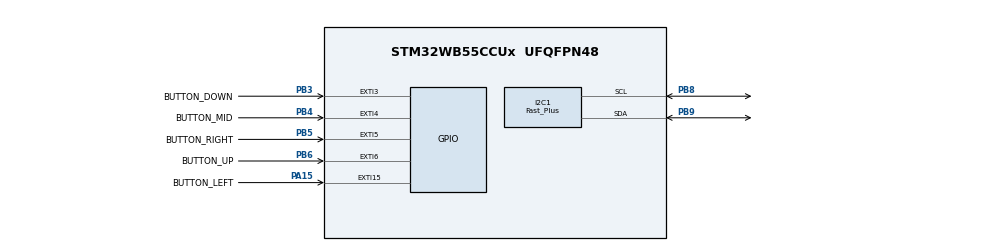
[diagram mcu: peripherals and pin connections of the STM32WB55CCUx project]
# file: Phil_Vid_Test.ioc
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FREERTOS.Queues01=Button_Queue,16,button_event_t,0,Dynamic,NULL,NULL;UI_Queue,16,button_event_t,0,Dynamic,NULL,NULL
FREERTOS.Tasks01=UI_Task,24,128,UITask,Default,NULL,Dynamic,NULL,NULL;Button_Task,8,128,ButtonTask,Default,NULL,Dynamic,NULL,NULL
FREERTOS.configUSE_NEWLIB_REENTRANT=1
I2C1.I2C_Speed_Mode=I2C_Fast_Plus
I2C1.Timing=0x0040040C
Mcu.Family=STM32WB
Mcu.Name=STM32WB55CCUx
Mcu.Package=UFQFPN48
NVIC.EXTI15_10_IRQn=true\:5\:0\:true\:false\:true\:false\:true\:true\:true
NVIC.EXTI3_IRQn=true\:5\:0\:true\:false\:true\:false\:true\:true\:true
NVIC.EXTI4_IRQn=true\:5\:0\:true\:false\:true\:false\:true\:true\:true
NVIC.EXTI9_5_IRQn=true\:5\:0\:true\:false\:true\:false\:true\:true\:true
NVIC.HSEM_IRQn=true\:5\:0\:false\:false\:true\:true\:false\:true\:true
NVIC.IPCC_C1_RX_IRQn=true\:5\:0\:false\:false\:true\:true\:true\:true\:true
NVIC.IPCC_C1_TX_IRQn=true\:5\:0\:false\:false\:true\:true\:true\:true\:true
NVIC.PriorityGroup=NVIC_PRIORITYGROUP_4
NVIC.RTC_WKUP_IRQn=true\:5\:0\:false\:false\:true\:true\:true\:true\:true
NVIC.TIM1_UP_TIM16_IRQn=true\:15\:0\:false\:false\:true\:false\:false\:true\:true
NVIC.TimeBase=TIM1_UP_TIM16_IRQn
NVIC.TimeBaseIP=TIM1
OSC_IN.Mode=HSE-External-Oscillator
OSC_IN.Signal=RCC_OSC_IN
OSC_OUT.Mode=HSE-External-Oscillator
OSC_OUT.Signal=RCC_OSC_OUT
PA13.Mode=Serial_Wire
PA13.Signal=SYS_JTMS-SWDIO
PA14.Mode=Serial_Wire
PA14.Signal=SYS_JTCK-SWCLK
PA15.GPIO_Label=BUTTON_LEFT
PA15.GPIO_ModeDefaultEXTI=GPIO_MODE_IT_FALLING
PA15.GPIO_PuPd=GPIO_PULLUP
PA15.Signal=GPXTI15
PB3.GPIO_Label=BUTTON_DOWN
PB3.GPIO_ModeDefaultEXTI=GPIO_MODE_IT_FALLING
PB3.GPIO_PuPd=GPIO_PULLUP
PB3.Signal=GPXTI3
PB4.GPIO_Label=BUTTON_MID
PB4.GPIO_ModeDefaultEXTI=GPIO_MODE_IT_FALLING
PB4.GPIO_PuPd=GPIO_PULLUP
PB4.Signal=GPXTI4
PB5.GPIO_Label=BUTTON_RIGHT
PB5.GPIO_ModeDefaultEXTI=GPIO_MODE_IT_FALLING
PB5.GPIO_PuPd=GPIO_PULLUP
PB5.Signal=GPXTI5
PB6.GPIO_Label=BUTTON_UP
PB6.GPIO_ModeDefaultEXTI=GPIO_MODE_IT_FALLING
PB6.GPIO_PuPd=GPIO_PULLUP
PB6.Signal=GPXTI6
PB8.Mode=I2C
PB8.Signal=I2C1_SCL
PB9.Mode=I2C
PB9.Signal=I2C1_SDA
ProjectManager.HeapSize=0x200
ProjectManager.StackSize=0x400
ProjectManager.TargetToolchain=STM32CubeIDE
RCC.ADCFreq_Value=128000000
RCC.AHBFreq_Value=32000000
RCC.APB1Freq_Value=32000000
RCC.APB1TimFreq_Value=32000000
RCC.APB2Freq_Value=32000000
RCC.APB2TimFreq_Value=32000000
RCC.APB3Freq_Value=16000000
RCC.CortexFreq_Value=32000000
RCC.HCLKFreq_Value=32000000
RCC.HSE_VALUE=32000000
RCC.HSI48_VALUE=48000000
RCC.HSI_VALUE=16000000
RCC.LSE_VALUE=32768
RCC.MSIClockRange=RCC_MSIRANGE_10
RCC.SYSCLKFreq_VALUE=32000000
RCC.USBFreq_Value=128000000
RCC.VCOOutputFreq_Value=256000000
RF1.Mode=RF1_Activate
RF1.Signal=RF_RF1
STM32_WPAN.BLE_APPLICATION_TYPE=BLE_SERVER_PROFILE
STM32_WPAN.CFG_LSCLK_LSE=0
STM32_WPAN.INCLUDE_AD_TYPE_COMPLETE_LOCAL_NAME=1
STM32_WPAN.NUMBER_OF_SERVICES=1
STM32_WPAN.SERVICE1_CHAR1_GATT_NOTIFY_READ_REQ_AND_WAIT_FOR_APPL_RESP=\ 
STM32_WPAN.SERVICE1_CHAR1_GATT_NOTIFY_WRITE_REQ_AND_WAIT_FOR_APPL_RESP=\ 
STM32_WPAN.SERVICE1_CHAR1_LONG_NAME=charWrite
STM32_WPAN.SERVICE1_CHAR1_PROP_WRITE=CHAR_PROP_WRITE
STM32_WPAN.SERVICE1_CHAR1_SHORT_NAME=charWrite
STM32_WPAN.SERVICE1_LONG_NAME=goofball
STM32_WPAN.SERVICE1_SHORT_NAME=goof
VP_FREERTOS_VS_CMSIS_V2.Mode=CMSIS_V2
VP_HSEM_VS_HSEM.Mode=HSEM_Activate
VP_IPCC_VS_IPCC.Mode=IPCC_Activate
VP_MEMORYMAP_VS_MEMORYMAP.Mode=CurAppReg
VP_RTC_VS_RTC_Activate.Mode=RTC_Enabled
VP_RTC_VS_RTC_WakeUp_intern.Mode=WakeUp
VP_STM32_WPAN_VS_BLE_HOST.Mode=STM32_WPAN_Enabled
VP_SYS_VS_tim1.Mode=TIM1
VP_TINY_LPM_VS_TINY_LPM.Mode=TINY_LPM_Enabled
board=custom

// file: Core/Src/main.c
/* USER CODE BEGIN Header */
/**
  ******************************************************************************
  * @file           : main.c
  * @brief          : Main program body
  ******************************************************************************
  * @attention
  *
  * Copyright (c) 2026 STMicroelectronics.
  * All rights reserved.
  *
  * This software is licensed under terms that can be found in the LICENSE file
  * in the root directory of this software component.
  * If no LICENSE file comes with this software, it is provided AS-IS.
  *
  ******************************************************************************
  */
/* USER CODE END Header */
#include "main.h"
#include "cmsis_os2.h"
#include "FreeRTOS.h"

/* USER CODE BEGIN Includes */
#include "ui.h"
/* USER CODE END Includes */

/* USER CODE BEGIN PTD */
typedef enum
{
	INPUT_UP,
	INPUT_LEFT,
	INPUT_MID,
	INPUT_RIGHT,
	INPUT_DOWN
} button_event_t;
/* USER CODE END PTD */

I2C_HandleTypeDef hi2c1;

IPCC_HandleTypeDef hipcc;

RTC_HandleTypeDef hrtc;

/* Definitions for UI_Task */
osThreadId_t UI_TaskHandle;
const osThreadAttr_t UI_Task_attributes = {
  .name = "UI_Task",
  .priority = (osPriority_t) osPriorityNormal,
  .stack_size = 128 * 4
};
/* Definitions for Button_Task */
osThreadId_t Button_TaskHandle;
const osThreadAttr_t Button_Task_attributes = {
  .name = "Button_Task",
  .priority = (osPriority_t) osPriorityLow,
  .stack_size = 128 * 4
};
/* Definitions for Button_Queue */
osMessageQueueId_t Button_QueueHandle;
const osMessageQueueAttr_t Button_Queue_attributes = {
  .name = "Button_Queue"
};
/* Definitions for UI_Queue */
osMessageQueueId_t UI_QueueHandle;
const osMessageQueueAttr_t UI_Queue_attributes = {
  .name = "UI_Queue"
};

void SystemClock_Config(void);
void PeriphCommonClock_Config(void);
static void MX_GPIO_Init(void);
static void MX_IPCC_Init(void);
static void MX_RTC_Init(void);
static void MX_I2C1_Init(void);
static void MX_RF_Init(void);
void UITask(void *argument);
void ButtonTask(void *argument);

int main(void)
{

  /* MCU Configuration--------------------------------------------------------*/

  /* Reset of all peripherals, Initializes the Flash interface and the Systick. */
  HAL_Init();
  /* Config code for STM32_WPAN (HSE Tuning must be done before system clock configuration) */
  MX_APPE_Config();

  /* Configure the system clock */
  SystemClock_Config();

  /* Configure the peripherals common clocks */
  PeriphCommonClock_Config();

  /* IPCC initialisation */
  MX_IPCC_Init();

  /* Initialize all configured peripherals */
  MX_GPIO_Init();
  MX_RTC_Init();
  MX_I2C1_Init();
  MX_RF_Init();
  /* USER CODE BEGIN 2 */
  SSD1306_Init();
  SSD1306_Clear();
  UI_Render();
  /* USER CODE END 2 */

  /* Init scheduler */
  osKernelInitialize();

  /* Create the queue(s) */
  /* creation of Button_Queue */
  Button_QueueHandle = osMessageQueueNew (16, sizeof(button_event_t), &Button_Queue_attributes);

  /* creation of UI_Queue */
  UI_QueueHandle = osMessageQueueNew (16, sizeof(button_event_t), &UI_Queue_attributes);

  /* Create the thread(s) */
  /* creation of UI_Task */
  UI_TaskHandle = osThreadNew(UITask, NULL, &UI_Task_attributes);

  /* creation of Button_Task */
  Button_TaskHandle = osThreadNew(ButtonTask, NULL, &Button_Task_attributes);

  /* Init code for STM32_WPAN */
  MX_APPE_Init();

  /* Start scheduler */
  osKernelStart();

  /* We should never get here as control is now taken by the scheduler */

  /* Infinite loop */
  while (1)
  {

  }
}

void SystemClock_Config(void)
{
  RCC_OscInitTypeDef RCC_OscInitStruct = {0};
  RCC_ClkInitTypeDef RCC_ClkInitStruct = {0};

  /** Configure the main internal regulator output voltage
  */
  __HAL_PWR_VOLTAGESCALING_CONFIG(PWR_REGULATOR_VOLTAGE_SCALE1);

  /** Initializes the RCC Oscillators according to the specified parameters
  * in the RCC_OscInitTypeDef structure.
  */
  RCC_OscInitStruct.OscillatorType = RCC_OSCILLATORTYPE_HSI|RCC_OSCILLATORTYPE_LSI1
                              |RCC_OSCILLATORTYPE_HSE|RCC_OSCILLATORTYPE_MSI;
  RCC_OscInitStruct.HSEState = RCC_HSE_ON;
  RCC_OscInitStruct.HSIState = RCC_HSI_ON;
  RCC_OscInitStruct.MSIState = RCC_MSI_ON;
  RCC_OscInitStruct.HSICalibrationValue = RCC_HSICALIBRATION_DEFAULT;
  RCC_OscInitStruct.MSICalibrationValue = RCC_MSICALIBRATION_DEFAULT;
  RCC_OscInitStruct.MSIClockRange = RCC_MSIRANGE_10;
  RCC_OscInitStruct.LSIState = RCC_LSI_ON;
  RCC_OscInitStruct.PLL.PLLState = RCC_PLL_NONE;
  if (HAL_RCC_OscConfig(&RCC_OscInitStruct) != HAL_OK)
  {
    Error_Handler();
  }

  /** Configure the SYSCLKSource, HCLK, PCLK1 and PCLK2 clocks dividers
  */
  RCC_ClkInitStruct.ClockType = RCC_CLOCKTYPE_HCLK4|RCC_CLOCKTYPE_HCLK2
                              |RCC_CLOCKTYPE_HCLK|RCC_CLOCKTYPE_SYSCLK
                              |RCC_CLOCKTYPE_PCLK1|RCC_CLOCKTYPE_PCLK2;
  RCC_ClkInitStruct.SYSCLKSource = RCC_SYSCLKSOURCE_MSI;
  RCC_ClkInitStruct.AHBCLKDivider = RCC_SYSCLK_DIV1;
  RCC_ClkInitStruct.APB1CLKDivider = RCC_HCLK_DIV1;
  RCC_ClkInitStruct.APB2CLKDivider = RCC_HCLK_DIV1;
  RCC_ClkInitStruct.AHBCLK2Divider = RCC_SYSCLK_DIV1;
  RCC_ClkInitStruct.AHBCLK4Divider = RCC_SYSCLK_DIV1;

  if (HAL_RCC_ClockConfig(&RCC_ClkInitStruct, FLASH_LATENCY_1) != HAL_OK)
  {
    Error_Handler();
  }
}

void PeriphCommonClock_Config(void)
{
  RCC_PeriphCLKInitTypeDef PeriphClkInitStruct = {0};

  /** Initializes the peripherals clock
  */
  PeriphClkInitStruct.PeriphClockSelection = RCC_PERIPHCLK_SMPS|RCC_PERIPHCLK_RFWAKEUP;
  PeriphClkInitStruct.RFWakeUpClockSelection = RCC_RFWKPCLKSOURCE_HSE_DIV1024;
  PeriphClkInitStruct.SmpsClockSelection = RCC_SMPSCLKSOURCE_HSI;
  PeriphClkInitStruct.SmpsDivSelection = RCC_SMPSCLKDIV_RANGE1;

  if (HAL_RCCEx_PeriphCLKConfig(&PeriphClkInitStruct) != HAL_OK)
  {
    Error_Handler();
  }
}

static void MX_I2C1_Init(void)
{

  hi2c1.Instance = I2C1;
  hi2c1.Init.Timing = 0x0040040C;
  hi2c1.Init.OwnAddress1 = 0;
  hi2c1.Init.AddressingMode = I2C_ADDRESSINGMODE_7BIT;
  hi2c1.Init.DualAddressMode = I2C_DUALADDRESS_DISABLE;
  hi2c1.Init.OwnAddress2 = 0;
  hi2c1.Init.OwnAddress2Masks = I2C_OA2_NOMASK;
  hi2c1.Init.GeneralCallMode = I2C_GENERALCALL_DISABLE;
  hi2c1.Init.NoStretchMode = I2C_NOSTRETCH_DISABLE;
  if (HAL_I2C_Init(&hi2c1) != HAL_OK)
  {
    Error_Handler();
  }

  /** Configure Analogue filter
  */
  if (HAL_I2CEx_ConfigAnalogFilter(&hi2c1, I2C_ANALOGFILTER_ENABLE) != HAL_OK)
  {
    Error_Handler();
  }

  /** Configure Digital filter
  */
  if (HAL_I2CEx_ConfigDigitalFilter(&hi2c1, 0) != HAL_OK)
  {
    Error_Handler();
  }

  /** I2C Enable Fast Mode Plus
  */
  HAL_I2CEx_EnableFastModePlus(I2C_FASTMODEPLUS_I2C1);

}

static void MX_IPCC_Init(void)
{

  hipcc.Instance = IPCC;
  if (HAL_IPCC_Init(&hipcc) != HAL_OK)
  {
    Error_Handler();
  }

}

static void MX_RF_Init(void)
{

}

static void MX_RTC_Init(void)
{

  /** Initialize RTC Only
  */
  hrtc.Instance = RTC;
  hrtc.Init.HourFormat = RTC_HOURFORMAT_24;
  hrtc.Init.AsynchPrediv = CFG_RTC_ASYNCH_PRESCALER;
  hrtc.Init.SynchPrediv = CFG_RTC_SYNCH_PRESCALER;
  hrtc.Init.OutPut = RTC_OUTPUT_DISABLE;
  hrtc.Init.OutPutPolarity = RTC_OUTPUT_POLARITY_HIGH;
  hrtc.Init.OutPutType = RTC_OUTPUT_TYPE_OPENDRAIN;
  hrtc.Init.OutPutRemap = RTC_OUTPUT_REMAP_NONE;
  if (HAL_RTC_Init(&hrtc) != HAL_OK)
  {
    Error_Handler();
  }

  /** Enable the WakeUp
  */
  if (HAL_RTCEx_SetWakeUpTimer_IT(&hrtc, 0, RTC_WAKEUPCLOCK_RTCCLK_DIV16) != HAL_OK)
  {
    Error_Handler();
  }

}

static void MX_GPIO_Init(void)
{
  GPIO_InitTypeDef GPIO_InitStruct = {0};

  /* GPIO Ports Clock Enable */
  __HAL_RCC_GPIOB_CLK_ENABLE();
  __HAL_RCC_GPIOA_CLK_ENABLE();

  /*Configure GPIO pin : BUTTON_LEFT_Pin */
  GPIO_InitStruct.Pin = BUTTON_LEFT_Pin;
  GPIO_InitStruct.Mode = GPIO_MODE_IT_FALLING;
  GPIO_InitStruct.Pull = GPIO_PULLUP;
  HAL_GPIO_Init(BUTTON_LEFT_GPIO_Port, &GPIO_InitStruct);

  /*Configure GPIO pins : BUTTON_DOWN_Pin BUTTON_MID_Pin BUTTON_RIGHT_Pin BUTTON_UP_Pin */
  GPIO_InitStruct.Pin = BUTTON_DOWN_Pin|BUTTON_MID_Pin|BUTTON_RIGHT_Pin|BUTTON_UP_Pin;
  GPIO_InitStruct.Mode = GPIO_MODE_IT_FALLING;
  GPIO_InitStruct.Pull = GPIO_PULLUP;
  HAL_GPIO_Init(GPIOB, &GPIO_InitStruct);

  /* EXTI interrupt init*/
  HAL_NVIC_SetPriority(EXTI3_IRQn, 5, 0);
  HAL_NVIC_EnableIRQ(EXTI3_IRQn);

  HAL_NVIC_SetPriority(EXTI4_IRQn, 5, 0);
  HAL_NVIC_EnableIRQ(EXTI4_IRQn);

  HAL_NVIC_SetPriority(EXTI9_5_IRQn, 5, 0);
  HAL_NVIC_EnableIRQ(EXTI9_5_IRQn);

  HAL_NVIC_SetPriority(EXTI15_10_IRQn, 5, 0);
  HAL_NVIC_EnableIRQ(EXTI15_10_IRQn);

}

/* USER CODE BEGIN 4 */
void HAL_GPIO_EXTI_Callback(uint16_t GPIO_Pin)
{
	button_event_t event;

	if (GPIO_Pin == BUTTON_UP_Pin) event = INPUT_UP;
	else if (GPIO_Pin == BUTTON_LEFT_Pin) event = INPUT_LEFT;
	else if (GPIO_Pin == BUTTON_MID_Pin) event = INPUT_MID;
	else if (GPIO_Pin == BUTTON_RIGHT_Pin) event = INPUT_RIGHT;
	else if (GPIO_Pin == BUTTON_DOWN_Pin) event = INPUT_DOWN;
	else return;

	osStatus_t status = osMessageQueuePut(
			Button_QueueHandle,
			&event,
			0,
			0						// send to queue w/o waiting
	);

	(void)status;
}
/* USER CODE END 4 */

void UITask(void *argument)
{
  /* USER CODE BEGIN 5 */
	button_event_t uiEvent;

  /* Infinite loop */
	for(;;)
	{
		if (osMessageQueueGet(
				UI_QueueHandle,
				&uiEvent,
				NULL,
				osWaitForever) == osOK)
		{
			switch (uiEvent){
			case INPUT_UP:
				UI_HandleInput(true, false, false, false, false);
				break;
			case INPUT_DOWN:
				UI_HandleInput(false, true, false, false, false);
				break;
			case INPUT_LEFT:
				UI_HandleInput(false, false, true, false, false);
				break;
			case INPUT_RIGHT:
				UI_HandleInput(false, false, false, true, false);
				break;
			case INPUT_MID:
				UI_HandleInput(false, false, false, false, true);
				break;
			default:
				break;
			}

			UI_Render();
		}
	}
  /* USER CODE END 5 */
}

void ButtonTask(void *argument)
{
  /* USER CODE BEGIN ButtonTask */
	button_event_t event;
	button_event_t uiEvent;

	GPIO_TypeDef *port = NULL;
	uint16_t pin = 0;
  /* Infinite loop */
	for(;;)
	{
		if(osMessageQueueGet(Button_QueueHandle, &event, NULL, osWaitForever) == osOK)
		{
			switch (event)
			{
			case INPUT_UP:
				port = BUTTON_UP_GPIO_Port;
				pin = BUTTON_UP_Pin;
				break;
			case INPUT_LEFT:
				port = BUTTON_LEFT_GPIO_Port;
				pin = BUTTON_LEFT_Pin;
				break;
			case INPUT_MID:
				port = BUTTON_MID_GPIO_Port;
				pin = BUTTON_MID_Pin;
				break;
			case INPUT_RIGHT:
				port = BUTTON_RIGHT_GPIO_Port;
				pin = BUTTON_RIGHT_Pin;
				break;
			case INPUT_DOWN:
				port = BUTTON_DOWN_GPIO_Port;
				pin = BUTTON_DOWN_Pin;
				break;
			default:
				continue;
			};
			/* Debounce Button */
//			osDelay(20);

			if (HAL_GPIO_ReadPin(port, pin) == GPIO_PIN_RESET)
			{
				uiEvent = event;

				osMessageQueuePut(
						UI_QueueHandle,
						&uiEvent,
						0,
						0						// send to queue w/o waiting
				);

				while (HAL_GPIO_ReadPin(port, pin) == GPIO_PIN_RESET)
				{
					osDelay(10);
				}
			}
		}
	}
  /* USER CODE END ButtonTask */
}

void HAL_TIM_PeriodElapsedCallback(TIM_HandleTypeDef *htim)
{
  if (htim->Instance == TIM1)
  {
    HAL_IncTick();
  }
}

void Error_Handler(void)
{
  __disable_irq();
  while (1)
  {
  }
}
